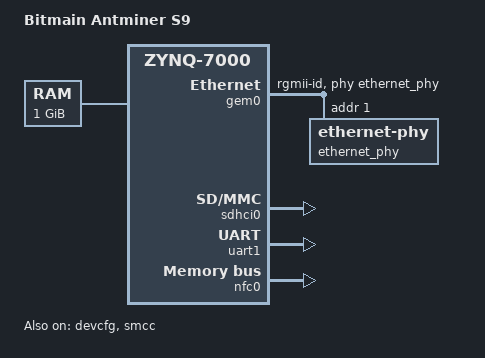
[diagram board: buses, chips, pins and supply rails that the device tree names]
// SPDX-License-Identifier: GPL-2.0
/* AtlANTian U-Boot hardware contract for Bitmain Antminer S9. */
/dts-v1/;
#include "zynq-7000.dtsi"

/ {
	model = "Bitmain Antminer S9";
	compatible = "bitmain,antminer-s9", "xlnx,zynq-7000";

	aliases {
		ethernet0 = &gem0;
		serial0 = &uart1;
		mmc0 = &sdhci0;
		gpio0 = &gpio0;
		nand0 = &nfc0;
	};

	/*
	 * Maximum DDR probe window. Antminer S9 U-Boot probes the installed RAM
	 * with get_ram_size(), so 512 MiB and 1 GiB boards share this description.
	 */
	memory@0 {
		device_type = "memory";
		reg = <0x0 0x40000000>;
	};

	reserved-memory {
		#address-cells = <1>;
		#size-cells = <1>;
		ranges;
		bootcount@efffff0 { reg = <0x0efffff0 0x10>; no-map; };
		fpga_space@f000000 { reg = <0x0f000000 0x01000000>; no-map; };
	};

	chosen { stdout-path = "serial0:115200n8"; };

	/* The base image supplies FPGA infrastructure, never a bitstream. */
	fpga_full: fpga-full {
		compatible = "fpga-region";
		fpga-mgr = <&devcfg>;
		#address-cells = <1>;
		#size-cells = <1>;
		ranges;
	};
};

&clkc { ps-clk-frequency = <33333333>; };

&gem0 {
	status = "okay";
	phy-mode = "rgmii-id";
	phy-handle = <&ethernet_phy>;
	ethernet_phy: ethernet-phy@1 { reg = <1>; };
};

&sdhci0 { status = "okay"; disable-wp; };
&uart1 { status = "okay"; };
&gpio0 { status = "okay"; };
&devcfg { status = "okay"; };
&smcc { status = "okay"; };
&nfc0 {
	status = "okay";
	nand-bus-width = <8>;
	arm,nand-cycle-t0 = <1>;
	arm,nand-cycle-t1 = <1>;
	arm,nand-cycle-t2 = <0>;
	arm,nand-cycle-t3 = <0>;
	arm,nand-cycle-t4 = <0>;
	arm,nand-cycle-t5 = <0>;
	arm,nand-cycle-t6 = <0>;
};
&watchdog0 { reset-on-timeout; timeout-sec = <200>; };
